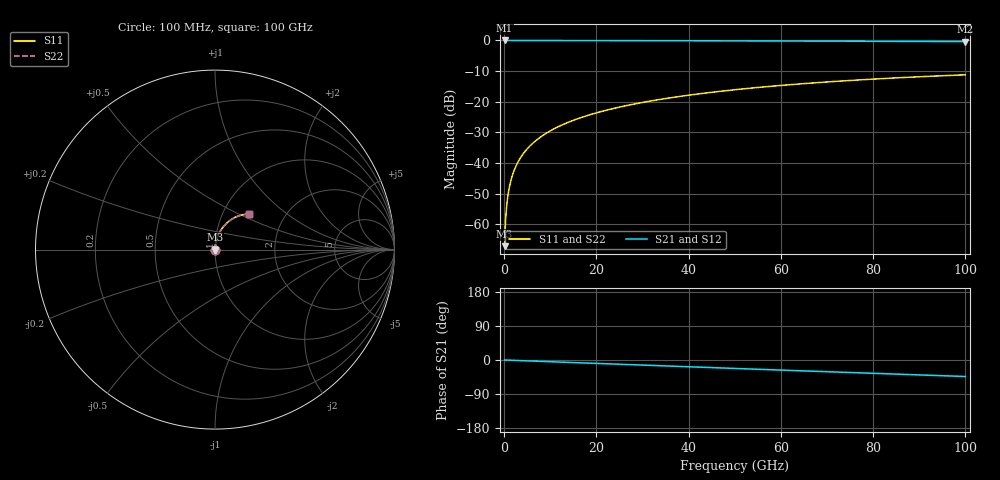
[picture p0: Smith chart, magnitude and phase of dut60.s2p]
! Touchstone file exported from HFSS 2026.1.0
!  File:  C:/ffzhzh/LocalFiles/Ansys_Project_Files/temp_train_TSV_60_1783505092_55944.aedt
!  Generated:  06:06:09 PM Jul  8, 2026
!  Design:  TSV
!  Project:  temp_train_TSV_60_1783505092_55944
! Variables:
!  h_bsmrdl = 2um
!  h_ox = 20um
!  h_rdl = 5um
!  h_sub = 78.51um
!  h_tmrdl = 5um
!  h_tsv = 78.51um
!  h_via = 3um
!  l_bsmrdl = 300um
!  l_sub = 413.46um
!  l_tmrdl = 200um
!  m_sub = 200um
!  pitch = 50.41um
!  r_tsv = 6.73um
!  s_tmrdl = 10um
!  w_bsmrdl = 18um
!  w_sub = 500um
!  w_tmrdl = 12um
!  x_tsv_center1 = 206um
!  x_tsv_center2 = 524um
!  x_tsv_center3 = 736um
!  x_tsv_center4 = 1054um
!  x_tsv_center5 = 1266um
!  x_tsv_center6 = 1584um
# GHz S MA R 50.000000
! Terminal data exported
! Port[1] = TSV1_1_T1
! Port[2] = TSV1_1_T2
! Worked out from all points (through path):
!   1000 points, 100 MHz to 100 GHz, reference 50 ohm
!   highest |S21| = 0.00 dB at 100 MHz (marker M1); lowest = -0.4 dB at 100 GHz (marker M2)
!   group delay of S21, straight-line fit = 1.21 ps
!   lowest |S11| = -67.2 dB at 100 MHz (marker M3), VSWR 1.00, Z = 50 + j0.0373 ohm
!   |S11| at or under -10 dB: start of sweep to end of sweep
!   |S22| runs from -67.2 to -11.2 dB; largest |S21 - S12| = 3.5e-15
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0.1  0.0004388 58.1  0.9998 -0.0  0.9998 -0.0  0.0004388 58.1
! Gamma 0 0 0 0
! Port Impedance 50 0 50 0
0.4  0.00148 79.1  0.9997 -0.2  0.9997 -0.2  0.00148 79.1
0.7  0.002528 82.6  0.9997 -0.3  0.9997 -0.3  0.002528 82.6
0.8  0.002877 83.1  0.9997 -0.4  0.9997 -0.4  0.002877 83.1
1  0.003573 83.9  0.9996 -0.5  0.9996 -0.5  0.003573 83.9
1.3  0.004613 84.5  0.9996 -0.6  0.9996 -0.6  0.004613 84.5
1.7  0.005988 84.9  0.9995 -0.8  0.9995 -0.8  0.005988 84.9
2.3  0.008026 85.1  0.9994 -1.1  0.9994 -1.1  0.008026 85.1
3  0.01037 85.1  0.9993 -1.4  0.9993 -1.4  0.01037 85.1
3.8  0.01304 85.1  0.9992 -1.7  0.9992 -1.7  0.01304 85.1
4.8  0.01635 85.0  0.9991 -2.2  0.9991 -2.2  0.01635 85.0
6  0.02031 84.7  0.9989 -2.7  0.9989 -2.7  0.02031 84.7
8.8  0.02952 83.9  0.9985 -4.0  0.9985 -4.0  0.02952 83.9
12.4  0.04128 82.6  0.9978 -5.6  0.9978 -5.6  0.04128 82.6
16.8  0.05552 80.8  0.9969 -7.6  0.9969 -7.6  0.05552 80.8
24.2  0.07915 77.8  0.995 -10.9  0.995 -10.9  0.07915 77.8
33.4  0.1078 73.9  0.992 -15.0  0.992 -15.0  0.1078 73.9
41.2  0.1314 70.6  0.989 -18.4  0.989 -18.4  0.1314 70.5
50.1  0.1572 66.7  0.985 -22.3  0.985 -22.3  0.1572 66.7
66.7  0.2019 59.7  0.9765 -29.5  0.9765 -29.5  0.2019 59.7
83.4  0.2416 52.7  0.9672 -36.6  0.9672 -36.6  0.2416 52.7
100  0.2749 45.8  0.958 -43.5  0.958 -43.5  0.2749 45.8
